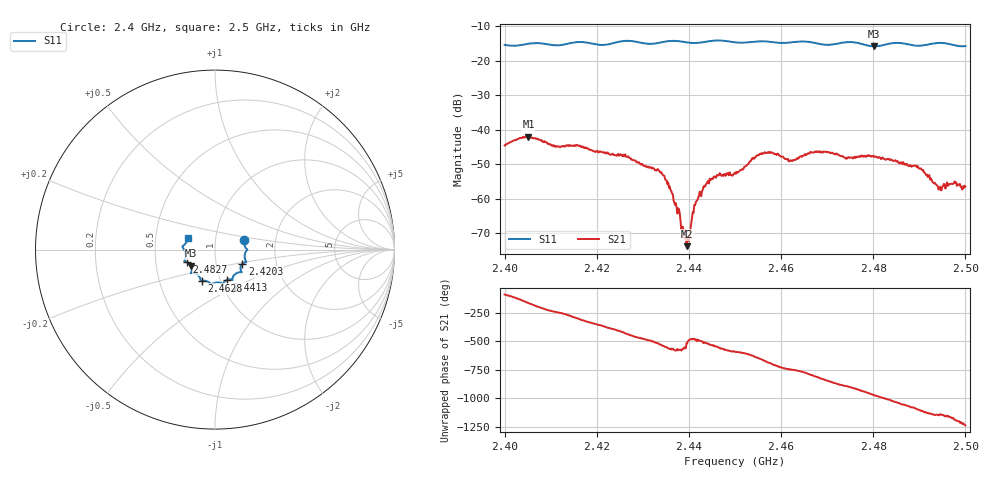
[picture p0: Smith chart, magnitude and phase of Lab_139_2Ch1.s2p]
# Hz S RI R 50
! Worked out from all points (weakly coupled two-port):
!   601 points, 2.4 GHz to 2.5 GHz, reference 50 ohm
!   highest |S21| = -42.01 dB at 2.4052 GHz (marker M1); lowest = -73.7 dB at 2.4395 GHz (marker M2)
!   lowest |S11| = -15.8 dB at 2.4802 GHz (marker M3), VSWR 1.39, Z = 37.5 - j6.91 ohm
!   |S11| at or under -10 dB: start of sweep to end of sweep
!   S12 and S22 are empty: the file has one direction only
!   S11 on the Smith chart (normalised r, x): 2.4 GHz: 1.38, +0.15; 2.4203 GHz: 1.34, -0.22; 2.4413 GHz: 1.08, -0.38; 2.4628 GHz: 0.82, -0.29; 2.4827 GHz: 0.72, -0.10; 2.5 GHz: 0.73, +0.10
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2.4e9  0.1621 0.0531  0.000171 -0.00591  0 0  0 0
2.405167e9  0.1773 0.00272  -0.00762 -0.00222  0 0  0 0
2.411167e9  0.166 -0.0267  -0.00274 0.00513  0 0  0 0
2.416667e9  0.1744 -0.0696  0.00375 0.00418  0 0  0 0
2.420333e9  0.152 -0.0793  0.00469 0.000523  0 0  0 0
2.4265e9  0.1493 -0.1262  0.00113 -0.00389  0 0  0 0
2.433333e9  0.0998 -0.1523  -0.00248 -0.000971  0 0  0 0
2.436e9  0.0983 -0.1681  -0.00124 0.000511  0 0  0 0
2.4395e9  0.0851 -0.1653  -0.000185 -9.02e-05  0 0  0 0
2.44e9  0.0805 -0.1653  -0.000162 -0.000184  0 0  0 0
2.441333e9  0.0671 -0.1689  -0.00048 -0.000653  0 0  0 0
2.445e9  0.0439 -0.1905  -0.00195 -0.000221  0 0  0 0
2.45e9  0.0247 -0.1844  -0.00149 0.00189  0 0  0 0
2.456e9  -0.0199 -0.1915  0.00247 0.00375  0 0  0 0
2.462833e9  -0.0719 -0.1734  0.00316 -0.00185  0 0  0 0
2.466667e9  -0.0805 -0.1677  0.00122 -0.00452  0 0  0 0
2.480167e9  -0.1357 -0.0896  -0.00118 0.00387  0 0  0 0
2.482667e9  -0.1577 -0.0706  0.000897 0.00359  0 0  0 0
2.483333e9  -0.1631 -0.0685  0.00124 0.00352  0 0  0 0
2.489833e9  -0.1641 -0.0239  0.00264 -0.000939  0 0  0 0
2.494333e9  -0.1818 0.0159  0.000544 -0.00131  0 0  0 0
2.5e9  -0.1506 0.0645  -0.0014 -0.000543  0 0  0 0
